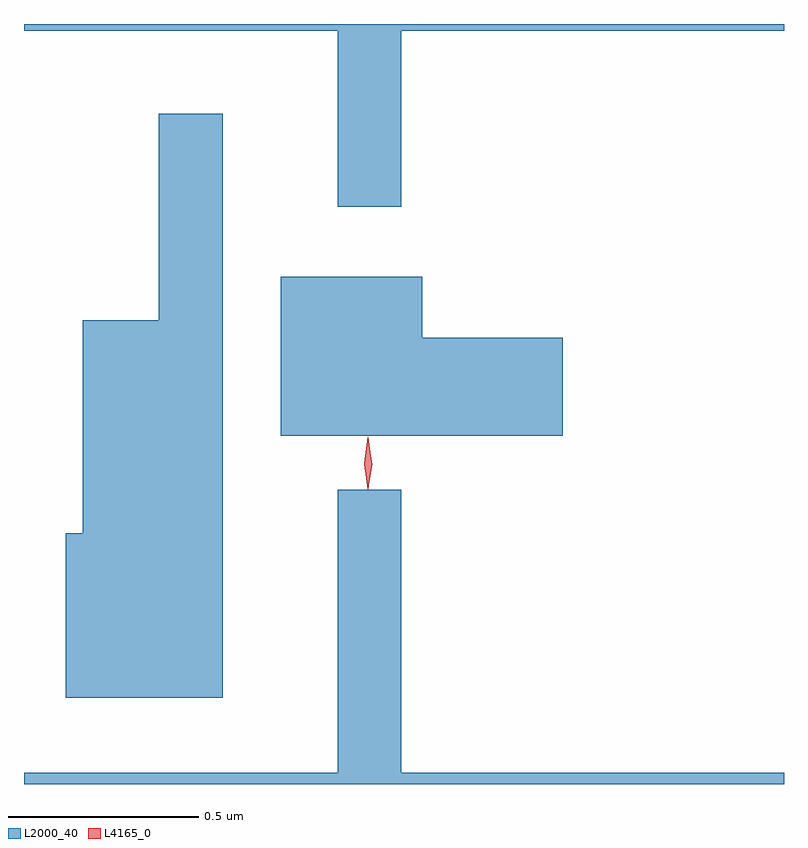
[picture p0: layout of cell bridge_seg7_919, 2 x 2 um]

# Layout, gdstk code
import gdstk
lib = gdstk.Library(unit=1e-6, precision=1e-09)
def P(c, l, *ps):  # polygons
    for p in ps: c.add(gdstk.Polygon(p, *l))
L2000_40 = (2000, 40)
L4165_0 = (4165, 0)

bridge_seg7_919 = lib.new_cell('bridge_seg7_919')
P(bridge_seg7_919, L2000_40, [(258.359,1689.896),(259.366,1689.896),(259.366,1689.914),(257.366,1689.914),(257.366,1689.896),(258.191,1689.896),(258.191,1689.433),(258.359,1689.433)],
  [(257.889,1689.678),(257.721,1689.678),(257.721,1689.134),(257.521,1689.134),(257.521,1688.574),(257.476,1688.574),(257.476,1688.141),(257.889,1688.141)],
  [(258.784,1689.089),(258.414,1689.089),(258.414,1689.249),(258.041,1689.249),(258.041,1688.831),(258.784,1688.831)],
  [(259.366,1687.944),(258.359,1687.944),(258.359,1688.688),(258.191,1688.688),(258.191,1687.944),(257.366,1687.944),(257.366,1687.914),(259.366,1687.914)])
P(bridge_seg7_919, L4165_0, [(258.272,1688.693),(258.271,1688.694),(258.262,1688.756),(258.271,1688.819),(258.271,1688.82),(258.272,1688.819),(258.282,1688.756),(258.272,1688.694)],
  [(258.271,1688.69),(258.262,1688.758),(258.271,1688.826),(258.271,1688.826),(258.272,1688.826),(258.281,1688.758),(258.272,1688.69),(258.272,1688.69)])

lib.write_gds('bridge_seg7_919.gds')
